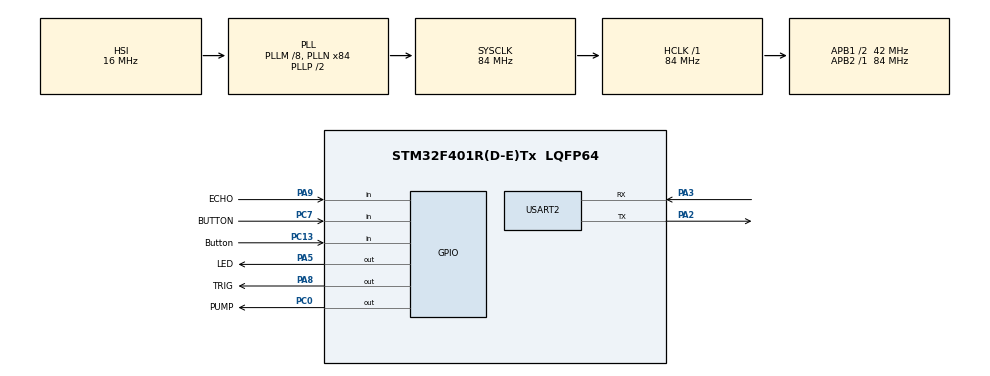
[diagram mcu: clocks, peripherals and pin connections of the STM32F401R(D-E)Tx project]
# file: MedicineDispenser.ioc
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Mcu.Family=STM32F4
Mcu.Name=STM32F401R(D-E)Tx
Mcu.Package=LQFP64
NVIC.PriorityGroup=NVIC_PRIORITYGROUP_4
NVIC.TIM3_IRQn=true\:0\:0\:false\:false\:true\:true\:true\:true
PA2.Mode=Asynchronous
PA2.Signal=USART2_TX
PA3.Mode=Asynchronous
PA3.Signal=USART2_RX
PA5.GPIO_Label=LED
PA5.Signal=GPIO_Output
PA8.GPIO_Label=TRIG
PA8.Signal=GPIO_Output
PA9.GPIO_Label=ECHO
PA9.Signal=GPIO_Input
PC0.GPIO_Label=PUMP
PC0.Signal=GPIO_Output
PC13-ANTI_TAMP.GPIO_Label=Button
PC13-ANTI_TAMP.Signal=GPIO_Input
PC7.GPIO_Label=BUTTON
PC7.Signal=GPIO_Input
ProjectManager.HeapSize=0x200
ProjectManager.StackSize=0x400
ProjectManager.TargetToolchain=STM32CubeIDE
RCC.48MHZClocksFreq_Value=42000000
RCC.AHBFreq_Value=84000000
RCC.APB1CLKDivider=RCC_HCLK_DIV2
RCC.APB1Freq_Value=42000000
RCC.APB1TimFreq_Value=84000000
RCC.APB2Freq_Value=84000000
RCC.APB2TimFreq_Value=84000000
RCC.CortexFreq_Value=84000000
RCC.HCLKFreq_Value=84000000
RCC.HSE_VALUE=25000000
RCC.HSI_VALUE=16000000
RCC.LSE_VALUE=32768
RCC.PLLM=8
RCC.PLLN=84
RCC.SYSCLKFreq_VALUE=84000000
RCC.SYSCLKSource=RCC_SYSCLKSOURCE_PLLCLK
RCC.VCOOutputFreq_Value=168000000
TIM3.Period=0
TIM3.Prescaler=84-1
TIM4.Period=0
TIM4.Prescaler=84-1
USART2.VirtualMode=VM_ASYNC
VP_TIM3_VS_ClockSourceINT.Mode=Internal
VP_TIM4_VS_ClockSourceINT.Mode=Internal
board=custom

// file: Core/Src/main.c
/* USER CODE BEGIN Header */
/**
  ******************************************************************************
  * @file           : main.c
  * @brief          : Main program body
  ******************************************************************************
  * @attention
  *
  * <h2><center>&copy; Copyright (c) 2019 STMicroelectronics.
  * All rights reserved.</center></h2>
  *
  * This software component is licensed by ST under BSD 3-Clause license,
  * the "License"; You may not use this file except in compliance with the
  * License. You may obtain a copy of the License at:
  *                        opensource.org/licenses/BSD-3-Clause
  *
  ******************************************************************************
  */
/* USER CODE END Header */
#include "main.h"

/* USER CODE BEGIN Includes */
#include <string.h>
#include <stdio.h>
/* USER CODE END Includes */

/* USER CODE BEGIN PTD */
#define usTIM TIM4
/* USER CODE END PTD */

TIM_HandleTypeDef htim3;
TIM_HandleTypeDef htim4;

UART_HandleTypeDef huart2;

void SystemClock_Config(void);
static void MX_GPIO_Init(void);
static void MX_TIM4_Init(void);
static void MX_USART2_UART_Init(void);
static void MX_TIM3_Init(void);
/* USER CODE BEGIN PFP */
void usDelay(uint32_t uSec);
/* USER CODE END PFP */

/* USER CODE BEGIN 0 */
uint8_t icFlag = 0;
uint8_t captureIdx=0;
uint32_t edge1Time=0, edge2Time=0;

const float speedOfSound = 0.0343/2;
float distance;

char uartBuf[100];
/* USER CODE END 0 */

int main(void)
{
  /* USER CODE BEGIN 1 */
  uint32_t numTicks = 0;
  uint32_t start_time = 0;
  uint32_t elapsed_time = 0;
  uint8_t process_active = 0;
  uint8_t button_was_pressed = 0;
  /* USER CODE END 1 */

  /* MCU Configuration--------------------------------------------------------*/

  /* Reset of all peripherals, Initializes the Flash interface and the Systick. */
  HAL_Init();

  /* Configure the system clock */
  SystemClock_Config();

  /* Initialize all configured peripherals */
  MX_GPIO_Init();
  MX_TIM4_Init();
  MX_USART2_UART_Init();
  MX_TIM3_Init();

  /* Infinite loop */
  /* USER CODE BEGIN WHILE */
  /* Infinite loop */
  while (1) {
    /* Check if the button is pressed */

      HAL_GPIO_WritePin(TRIG_GPIO_Port, TRIG_Pin, GPIO_PIN_RESET);
      usDelay(3);

      // *** START Ultrasonic measure routine ***//
      // 1. Output 10 usec TRIG
      HAL_GPIO_WritePin(TRIG_GPIO_Port, TRIG_Pin, GPIO_PIN_SET);
      usDelay(10);

      HAL_GPIO_WritePin(TRIG_GPIO_Port, TRIG_Pin, GPIO_PIN_RESET);

      while (HAL_GPIO_ReadPin(ECHO_GPIO_Port, ECHO_Pin) == GPIO_PIN_RESET)
                ;

              // 3. Start measuring ECHO pulse width in usec
              numTicks = 0;
              while (HAL_GPIO_ReadPin(ECHO_GPIO_Port, ECHO_Pin) == GPIO_PIN_SET)
              {
                numTicks++;
                usDelay(2); // 2.8usec
              };

              // 4. Estimate distance in cm
              distance = (numTicks + 0.0f) * 2.8 * speedOfSound;

    if (HAL_GPIO_ReadPin(BUTTON_GPIO_Port, BUTTON_Pin) == GPIO_PIN_SET && distance < 10) {

          HAL_GPIO_WritePin(PUMP_GPIO_Port, PUMP_Pin, GPIO_PIN_SET);
          HAL_Delay(500000);

    }
    HAL_GPIO_WritePin(PUMP_GPIO_Port, PUMP_Pin, GPIO_PIN_RESET);
  }

  /* USER CODE END 3 */
}

void SystemClock_Config(void)
{
  RCC_OscInitTypeDef RCC_OscInitStruct = {0};
  RCC_ClkInitTypeDef RCC_ClkInitStruct = {0};

  /** Configure the main internal regulator output voltage
  */
  __HAL_RCC_PWR_CLK_ENABLE();
  __HAL_PWR_VOLTAGESCALING_CONFIG(PWR_REGULATOR_VOLTAGE_SCALE2);

  /** Initializes the RCC Oscillators according to the specified parameters
  * in the RCC_OscInitTypeDef structure.
  */
  RCC_OscInitStruct.OscillatorType = RCC_OSCILLATORTYPE_HSI;
  RCC_OscInitStruct.HSIState = RCC_HSI_ON;
  RCC_OscInitStruct.HSICalibrationValue = RCC_HSICALIBRATION_DEFAULT;
  RCC_OscInitStruct.PLL.PLLState = RCC_PLL_ON;
  RCC_OscInitStruct.PLL.PLLSource = RCC_PLLSOURCE_HSI;
  RCC_OscInitStruct.PLL.PLLM = 8;
  RCC_OscInitStruct.PLL.PLLN = 84;
  RCC_OscInitStruct.PLL.PLLP = RCC_PLLP_DIV2;
  RCC_OscInitStruct.PLL.PLLQ = 4;
  if (HAL_RCC_OscConfig(&RCC_OscInitStruct) != HAL_OK)
  {
    Error_Handler();
  }

  /** Initializes the CPU, AHB and APB buses clocks
  */
  RCC_ClkInitStruct.ClockType = RCC_CLOCKTYPE_HCLK|RCC_CLOCKTYPE_SYSCLK
                              |RCC_CLOCKTYPE_PCLK1|RCC_CLOCKTYPE_PCLK2;
  RCC_ClkInitStruct.SYSCLKSource = RCC_SYSCLKSOURCE_PLLCLK;
  RCC_ClkInitStruct.AHBCLKDivider = RCC_SYSCLK_DIV1;
  RCC_ClkInitStruct.APB1CLKDivider = RCC_HCLK_DIV2;
  RCC_ClkInitStruct.APB2CLKDivider = RCC_HCLK_DIV1;

  if (HAL_RCC_ClockConfig(&RCC_ClkInitStruct, FLASH_LATENCY_2) != HAL_OK)
  {
    Error_Handler();
  }
}

static void MX_TIM3_Init(void)
{

  TIM_ClockConfigTypeDef sClockSourceConfig = {0};
  TIM_MasterConfigTypeDef sMasterConfig = {0};

  htim3.Instance = TIM3;
  htim3.Init.Prescaler = 84-1;
  htim3.Init.CounterMode = TIM_COUNTERMODE_UP;
  htim3.Init.Period = 0;
  htim3.Init.ClockDivision = TIM_CLOCKDIVISION_DIV1;
  htim3.Init.AutoReloadPreload = TIM_AUTORELOAD_PRELOAD_DISABLE;
  if (HAL_TIM_Base_Init(&htim3) != HAL_OK)
  {
    Error_Handler();
  }
  sClockSourceConfig.ClockSource = TIM_CLOCKSOURCE_INTERNAL;
  if (HAL_TIM_ConfigClockSource(&htim3, &sClockSourceConfig) != HAL_OK)
  {
    Error_Handler();
  }
  sMasterConfig.MasterOutputTrigger = TIM_TRGO_RESET;
  sMasterConfig.MasterSlaveMode = TIM_MASTERSLAVEMODE_DISABLE;
  if (HAL_TIMEx_MasterConfigSynchronization(&htim3, &sMasterConfig) != HAL_OK)
  {
    Error_Handler();
  }

}

static void MX_TIM4_Init(void)
{

  TIM_ClockConfigTypeDef sClockSourceConfig = {0};
  TIM_MasterConfigTypeDef sMasterConfig = {0};

  htim4.Instance = TIM4;
  htim4.Init.Prescaler = 84-1;
  htim4.Init.CounterMode = TIM_COUNTERMODE_UP;
  htim4.Init.Period = 0;
  htim4.Init.ClockDivision = TIM_CLOCKDIVISION_DIV1;
  htim4.Init.AutoReloadPreload = TIM_AUTORELOAD_PRELOAD_DISABLE;
  if (HAL_TIM_Base_Init(&htim4) != HAL_OK)
  {
    Error_Handler();
  }
  sClockSourceConfig.ClockSource = TIM_CLOCKSOURCE_INTERNAL;
  if (HAL_TIM_ConfigClockSource(&htim4, &sClockSourceConfig) != HAL_OK)
  {
    Error_Handler();
  }
  sMasterConfig.MasterOutputTrigger = TIM_TRGO_RESET;
  sMasterConfig.MasterSlaveMode = TIM_MASTERSLAVEMODE_DISABLE;
  if (HAL_TIMEx_MasterConfigSynchronization(&htim4, &sMasterConfig) != HAL_OK)
  {
    Error_Handler();
  }

}

static void MX_USART2_UART_Init(void)
{

  huart2.Instance = USART2;
  huart2.Init.BaudRate = 115200;
  huart2.Init.WordLength = UART_WORDLENGTH_8B;
  huart2.Init.StopBits = UART_STOPBITS_1;
  huart2.Init.Parity = UART_PARITY_NONE;
  huart2.Init.Mode = UART_MODE_TX_RX;
  huart2.Init.HwFlowCtl = UART_HWCONTROL_NONE;
  huart2.Init.OverSampling = UART_OVERSAMPLING_16;
  if (HAL_UART_Init(&huart2) != HAL_OK)
  {
    Error_Handler();
  }

}

static void MX_GPIO_Init(void)
{
  GPIO_InitTypeDef GPIO_InitStruct = {0};

  /* GPIO Ports Clock Enable */
  __HAL_RCC_GPIOC_CLK_ENABLE();
  __HAL_RCC_GPIOA_CLK_ENABLE();

  /*Configure GPIO pin Output Level */
  HAL_GPIO_WritePin(PUMP_GPIO_Port, PUMP_Pin, GPIO_PIN_RESET);

  /*Configure GPIO pin Output Level */
  HAL_GPIO_WritePin(GPIOA, LED_Pin|TRIG_Pin, GPIO_PIN_RESET);

  /*Configure GPIO pins : Button_Pin BUTTON_Pin */
  GPIO_InitStruct.Pin = Button_Pin|BUTTON_Pin;
  GPIO_InitStruct.Mode = GPIO_MODE_INPUT;
  GPIO_InitStruct.Pull = GPIO_NOPULL;
  HAL_GPIO_Init(GPIOC, &GPIO_InitStruct);

  /*Configure GPIO pin : PUMP_Pin */
  GPIO_InitStruct.Pin = PUMP_Pin;
  GPIO_InitStruct.Mode = GPIO_MODE_OUTPUT_PP;
  GPIO_InitStruct.Pull = GPIO_NOPULL;
  GPIO_InitStruct.Speed = GPIO_SPEED_FREQ_LOW;
  HAL_GPIO_Init(PUMP_GPIO_Port, &GPIO_InitStruct);

  /*Configure GPIO pins : LED_Pin TRIG_Pin */
  GPIO_InitStruct.Pin = LED_Pin|TRIG_Pin;
  GPIO_InitStruct.Mode = GPIO_MODE_OUTPUT_PP;
  GPIO_InitStruct.Pull = GPIO_NOPULL;
  GPIO_InitStruct.Speed = GPIO_SPEED_FREQ_LOW;
  HAL_GPIO_Init(GPIOA, &GPIO_InitStruct);

  /*Configure GPIO pin : ECHO_Pin */
  GPIO_InitStruct.Pin = ECHO_Pin;
  GPIO_InitStruct.Mode = GPIO_MODE_INPUT;
  GPIO_InitStruct.Pull = GPIO_NOPULL;
  HAL_GPIO_Init(ECHO_GPIO_Port, &GPIO_InitStruct);

}

/* USER CODE BEGIN 4 */
void usDelay(uint32_t uSec)
{
	if(uSec < 2) uSec = 2;
	usTIM->ARR = uSec - 1; 	/*sets the value in the auto-reload register*/
	usTIM->EGR = 1; 			/*Re-initialises the timer*/
	usTIM->SR &= ~1; 		//Resets the flag
	usTIM->CR1 |= 1; 		//Enables the counter
	while((usTIM->SR&0x0001) != 1);
	usTIM->SR &= ~(0x0001);
}

void HAL_TIM_IC_CaptureCallback(TIM_HandleTypeDef *htim)
{

	HAL_GPIO_TogglePin(LED_GPIO_Port, LED_Pin);

		if(captureIdx == 0) //Fisrt edge
		{
			edge1Time = HAL_TIM_ReadCapturedValue(htim, TIM_CHANNEL_1); //__HAL_TIM_GetCounter(&htim3);//

			captureIdx = 1;
		}
		else if(captureIdx == 1) //Second edge
		{
			edge2Time = HAL_TIM_ReadCapturedValue(htim, TIM_CHANNEL_1);
			captureIdx = 0;
			icFlag = 1;
		}
}
/* USER CODE END 4 */

void Error_Handler(void)
{
}
